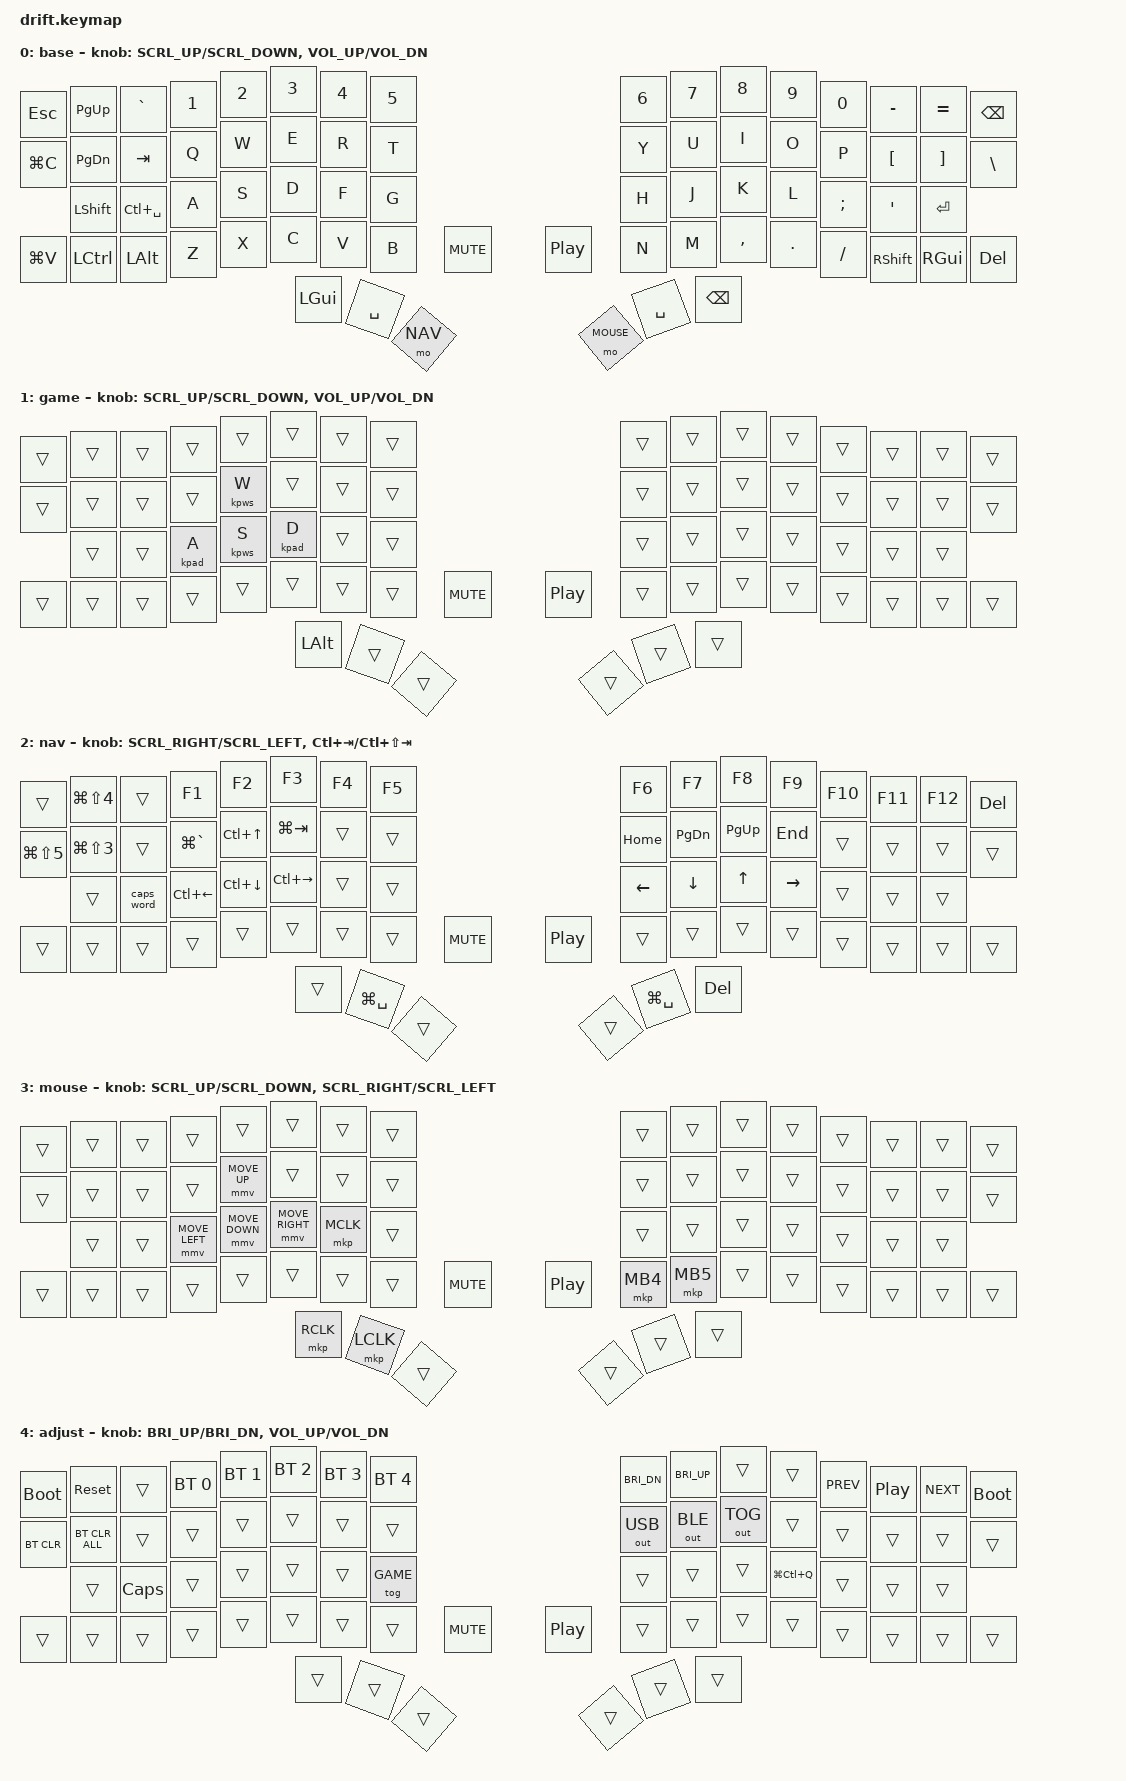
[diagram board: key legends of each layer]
// Drift V3 (Timception) dongle build - macOS keymap
// Based on the upstream Timception/drift-v3-dongle default keymap.
//
// Five layers. Numbering matters: `game` is a toggled overlay and sits BELOW the
// held layers so that holding nav/mouse while a game is on still wins.
//
//   0 base   - everyday typing and macOS shortcuts. Every key is a plain key:
//              no hold-taps, no combos (Thai Kedmanee leans on Shift, games need
//              plain keys, and the board-check page is slot-indexed - ADR-0004).
//   1 game   - toggled with adjust+G, stays on until toggled off (ADR-0003).
//              Changes only WASD (last-input-priority SOCD from Timception's
//              key-press-lip module) and the outer left thumb, Command -> Option,
//              so a stray Command cannot quit or hide the game. Everything else
//              passes through to base.
//   2 nav    - hold the inner left thumb. HJKL arrows under the right hand,
//              Home/PgDn/PgUp/End above them, F-keys on the number row, macOS
//              window keys under the left hand, caps_word on the Caps slot.
//              Word / line jumps, selection and window tiling come from holding
//              the real Option / Command / Shift / Control keys over the arrows,
//              so those slots stay &trans on purpose.
//   3 mouse  - hold the inner right thumb. WASD moves the pointer (left hand,
//              like a game), the left thumbs click, F is middle click, N/M are
//              mouse buttons 4/5, and the encoders scroll: left up/down, right
//              left/right. Acceleration only, no precision layer yet.
//   4 adjust - nav + mouse together. Bluetooth, USB/BLE output, media,
//              brightness, real Caps Lock, screen lock, bootloader, game toggle.
//
// Differences from upstream, all macOS-driven:
//   * Copy/Paste use LG() (Command) instead of LC() (Control).
//   * The 2u cap engraved "Shift" on the left outer column is LSHFT (upstream had LGUI).
//   * Command (LGUI) sits on the outer left thumb, where macOS shortcuts are comfortable.
//   * The cap engraved "Shift" on the right bottom row is RSHFT (upstream had BACKSPACE).
//   * "Pgup"/"Pgdn" caps on the left outer column actually send PG_UP / PG_DN.
//   * The cap engraved "Caps" sends Control+Space, macOS's input-source switch
//     (Thai <-> English). Real Caps Lock lives on adjust.
//   * Windows snipping shortcut replaced with macOS screenshot shortcuts on nav.
//   * Right encoder press is play/pause; the left one still mutes.

#define ZMK_POINTING_DEFAULT_MOVE_VAL 4500  // default: 600 - pointer max speed on the mouse layer
#define ZMK_POINTING_DEFAULT_SCRL_VAL 120   // default: 10 - for encoder mouse-scroll to work

#include <dt-bindings/zmk/mouse.h>
#include <behaviors.dtsi>
#include <dt-bindings/zmk/bt.h>
#include <dt-bindings/zmk/outputs.h>
#include <dt-bindings/zmk/keys.h>
#include <dt-bindings/zmk/pointing.h>

#define BASE   0
#define GAME   1
#define NAV    2
#define MOUSE  3
#define ADJUST 4

// Pointer keys start slow and ramp up, so a tap nudges and a hold travels.
&mmv {
    time-to-max-speed-ms = <150>;
    acceleration-exponent = <1>;
};

/ {
    conditional_layers {
        compatible = "zmk,conditional-layers";

        tri_layer {
            if-layers = <NAV MOUSE>;
            then-layer = <ADJUST>;
        };
    };

    behaviors {
        enc_scroll: enc_scroll {
            compatible = "zmk,behavior-sensor-rotate-var";
            #sensor-binding-cells = <2>;
            bindings = <&msc>, <&msc>;
            tap-ms = <20>;
        };

        /* Setup left and right */
        kpad: key_lip_a_d {
            compatible = "zmk,behavior-key-press-lip";
            #binding-cells = <1>;
            keycodes = <A D>;
        };

        /* Setup up and down */
        kpws: key_lip_w_s {
            compatible = "zmk,behavior-key-press-lip";
            #binding-cells = <1>;
            keycodes = <W S>;
        };
    };

    keymap {
        compatible = "zmk,keymap";

        default_layer {
            display-name = "base";

            // ---------------------------------------------------------------------------------------------------------------------------
            // | ESC   | PGUP | `     |  1  |  2  |  3  |  4  |  5  |               |  6  |  7  |  8  |  9  |  0  |  -  |  =  | BSPC (mac ⌫)|
            // | ⌘C    | PGDN | TAB   |  Q  |  W  |  E  |  R  |  T  |               |  Y  |  U  |  I  |  O  |  P  |  [  |  ]  |  \          |
            //         | SHIFT (2u)   | ^SPC |  A  |  S  |  D  |  F  |  G  |        |  H  |  J  |  K  |  L  |  ;  |  '  | ENTER           |
            // | ⌘V    | CTRL | OPT   |  Z  |  X  |  C  |  V  |  B  | MUTE | | PLAY |  N  |  M  |  ,  |  .  |  /  |RSHFT| R⌘  | FWD DEL     |
            //                                    | ⌘   | SPC | NAV   |             |MOUSE| SPC | BSPC |

            bindings = <
&kp ESC    &kp PG_UP      &kp GRAVE  &kp N1  &kp N2  &kp N3  &kp N4  &kp N5                            &kp N6  &kp N7  &kp N8     &kp N9   &kp N0    &kp MINUS  &kp EQUAL  &kp BSPC
&kp LG(C)  &kp PG_DN      &kp TAB    &kp Q   &kp W   &kp E   &kp R   &kp T                             &kp Y   &kp U   &kp I      &kp O    &kp P     &kp LBKT   &kp RBKT   &kp BSLH
           &kp LSHFT      &kp LC(SPACE)      &kp A   &kp S   &kp D   &kp F   &kp G                     &kp H   &kp J   &kp K      &kp L    &kp SEMI  &kp SQT    &kp ENTER
&kp LG(V)  &kp LCTRL      &kp LALT   &kp Z   &kp X   &kp C   &kp V   &kp B   &kp C_MUTE    &kp C_PP    &kp N   &kp M   &kp COMMA  &kp DOT  &kp FSLH  &kp RSHFT  &kp RGUI   &kp DEL
                                                     &kp LGUI  &kp SPACE  &mo NAV                     &mo MOUSE  &kp SPACE  &kp BSPC
            >;

            sensor-bindings = <&enc_scroll SCRL_UP SCRL_DOWN>, <&inc_dec_kp C_VOL_UP C_VOL_DN>;
        };

        game_layer {
            display-name = "game";

            // Toggled overlay (adjust + G). Only WASD and the outer left thumb differ.
            // ---------------------------------------------------------------------------------------------------------------------------
            // |       |      |       |     | W* |     |     |     |               |     |     |     |     |     |     |     |             |
            //         |              |      | A* | S* | D* |     |     |          |     |     |     |     |     |     |                 |
            //                                    | ⌥   |     |       |             |     |     |      |      * = last-input-priority

            bindings = <
&trans  &trans  &trans  &trans   &trans   &trans   &trans  &trans                            &trans    &trans  &trans  &trans  &trans  &trans  &trans  &trans
&trans  &trans  &trans  &trans   &kpws W  &trans   &trans  &trans                            &trans    &trans  &trans  &trans  &trans  &trans  &trans  &trans
        &trans  &trans  &kpad A  &kpws S  &kpad D  &trans  &trans                            &trans    &trans  &trans  &trans  &trans  &trans  &trans
&trans  &trans  &trans  &trans   &trans   &trans   &trans  &trans  &kp C_MUTE    &kp C_PP    &trans    &trans  &trans  &trans  &trans  &trans  &trans  &trans
                                                   &kp LALT  &trans  &trans                  &trans  &trans  &trans
            >;

            sensor-bindings = <&enc_scroll SCRL_UP SCRL_DOWN>, <&inc_dec_kp C_VOL_UP C_VOL_DN>;
        };

        nav_layer {
            display-name = "nav";

            // Hold the inner left thumb. Everything not listed is &trans so that a
            // real Option / Command / Shift / Control held alongside reaches the host.
            // ---------------------------------------------------------------------------------------------------------------------------
            // |       | ⌘⇧4  |       | F1  | F2  | F3  | F4  | F5  |               | F6  | F7  | F8  | F9  | F10 | F11 | F12 | FWD DEL     |
            // | ⌘⇧5   | ⌘⇧3  |       | ⌘`  | ^↑  |⌘TAB |     |     |               |HOME |PGDN |PGUP | END |     |     |     |             |
            //         |              |CAPSW | ^←  | ^↓  | ^→  |     |     |        |  ←  |  ↓  |  ↑  |  →  |     |     |                 |
            // |       |      |       |     |     |     |     |     | MUTE | | PLAY |     |     |     |     |     |     |     |             |
            //                                    |     |⌘SPC | [nav] |             |     |⌘SPC | FWD DEL |     (⌘Space = Spotlight)

            bindings = <
&trans          &kp LG(LS(N4))  &trans      &kp F1         &kp F2      &kp F3       &kp F4  &kp F5                            &kp F6    &kp F7     &kp F8     &kp F9     &kp F10  &kp F11  &kp F12  &kp DEL
&kp LG(LS(N5))  &kp LG(LS(N3))  &trans      &kp LG(GRAVE)  &kp LC(UP)  &kp LG(TAB)  &trans  &trans                            &kp HOME  &kp PG_DN  &kp PG_UP  &kp END    &trans   &trans   &trans   &trans
                &trans          &caps_word  &kp LC(LEFT)   &kp LC(DOWN) &kp LC(RIGHT) &trans &trans                           &kp LEFT  &kp DOWN   &kp UP     &kp RIGHT  &trans   &trans   &trans
&trans          &trans          &trans      &trans         &trans      &trans       &trans  &trans  &kp C_MUTE    &kp C_PP    &trans    &trans     &trans     &trans     &trans   &trans   &trans   &trans
                                                                       &trans  &kp LG(SPACE)  &trans                          &trans  &kp LG(SPACE)  &kp DEL
            >;

            sensor-bindings = <&enc_scroll SCRL_RIGHT SCRL_LEFT>, <&inc_dec_kp LC(TAB) LC(LS(TAB))>;
        };

        mouse_layer {
            display-name = "mouse";

            // Hold the inner right thumb. Pointer on WASD under the left hand, clicks on
            // the left thumbs, scrolling on the encoders (left = up/down, right = left/right).
            // ---------------------------------------------------------------------------------------------------------------------------
            // |       |      |       |     | W↑  |     |     |     |               |     |     |     |     |     |     |     |             |
            //         |              |      | A←  | S↓  | D→  |MCLK |     |        |     |     |     |     |     |     |                 |
            // |       |      |       |     |     |     |     |     | MUTE | | PLAY | MB4 | MB5 |     |     |     |     |     |             |
            //                                    |RCLK |LCLK |       |             |[mouse]|   |      |

            bindings = <
&trans  &trans  &trans  &trans          &trans          &trans           &trans     &trans                            &trans    &trans    &trans  &trans  &trans  &trans  &trans  &trans
&trans  &trans  &trans  &trans          &mmv MOVE_UP    &trans           &trans     &trans                            &trans    &trans    &trans  &trans  &trans  &trans  &trans  &trans
        &trans  &trans  &mmv MOVE_LEFT  &mmv MOVE_DOWN  &mmv MOVE_RIGHT  &mkp MCLK  &trans                            &trans    &trans    &trans  &trans  &trans  &trans  &trans
&trans  &trans  &trans  &trans          &trans          &trans           &trans     &trans  &kp C_MUTE    &kp C_PP    &mkp MB4  &mkp MB5  &trans  &trans  &trans  &trans  &trans  &trans
                                                                         &mkp RCLK  &mkp LCLK  &trans                 &trans  &trans  &trans
            >;

            sensor-bindings = <&enc_scroll SCRL_UP SCRL_DOWN>, <&enc_scroll SCRL_RIGHT SCRL_LEFT>;
        };

        adjust_layer {
            display-name = "adjust";

            // nav + mouse held together.
            // ---------------------------------------------------------------------------------------------------------------------------
            // | BOOT  |RESET |       | BT1 | BT2 | BT3 | BT4 | BT5 |               | BRI-| BRI+|     |     |PREV |PLAY |NEXT | BOOT        |
            // |BT CLR |BT CLR ALL|   |     |     |     |     |     |               | USB | BLE | TOG |     |     |     |     |             |
            //         |              | CAPS |     |     |     |     |GAME |        |     |     |     |LOCK |     |     |                 |
            // |       |      |       |     |     |     |     |     | MUTE | | PLAY |     |     |     |     |     |     |     |             |

            bindings = <
&bootloader  &sys_reset       &trans    &bt BT_SEL 0  &bt BT_SEL 1  &bt BT_SEL 2  &bt BT_SEL 3  &bt BT_SEL 4                            &kp C_BRI_DN  &kp C_BRI_UP  &trans        &trans         &kp C_PREV  &kp C_PP  &kp C_NEXT  &bootloader
&bt BT_CLR   &bt BT_CLR_ALL   &trans    &trans        &trans        &trans        &trans        &trans                                  &out OUT_USB  &out OUT_BLE  &out OUT_TOG  &trans         &trans      &trans    &trans      &trans
             &trans           &kp CAPS  &trans        &trans        &trans        &trans        &tog GAME                               &trans        &trans        &trans        &kp LG(LC(Q))  &trans      &trans    &trans
&trans       &trans           &trans    &trans        &trans        &trans        &trans        &trans        &kp C_MUTE    &kp C_PP    &trans        &trans        &trans        &trans         &trans      &trans    &trans      &trans
                                                                                  &trans  &trans  &trans                                &trans  &trans  &trans
            >;

            sensor-bindings = <&inc_dec_kp C_BRI_UP C_BRI_DN>, <&inc_dec_kp C_VOL_UP C_VOL_DN>;
        };
    };
};
